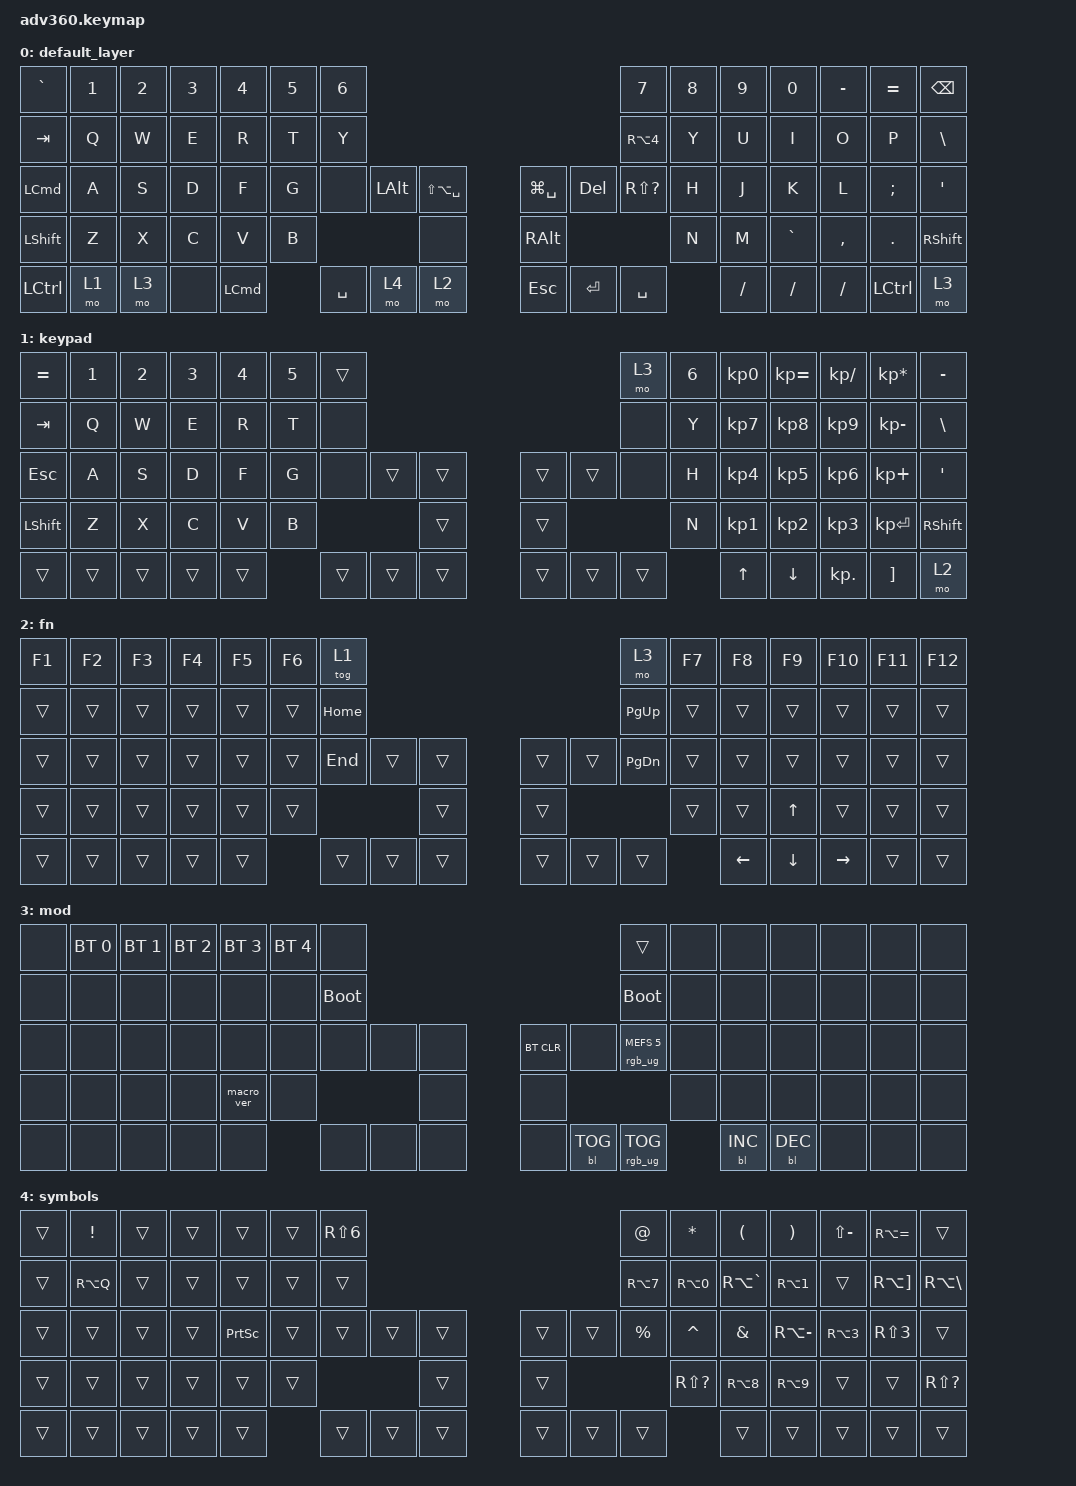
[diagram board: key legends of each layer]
#include <behaviors.dtsi>
#include <dt-bindings/zmk/backlight.h>
#include <dt-bindings/zmk/bt.h>
#include <dt-bindings/zmk/keys.h>
#include <dt-bindings/zmk/rgb.h>

/ {
    behaviors {
        #include "macros.dtsi"
      #include "version.dtsi"
      #ifndef VERSION_MACRO

        macro_ver: macro_ver {
            compatible = "zmk,behavior-macro";
            label = "macro_version";
            #binding-cells = <0>;
            bindings = <&kp RET>;
        };

        #endif

        hm: homerow_mods {
            compatible = "zmk,behavior-hold-tap";
            label = "HOMEROW_MODS";
            #binding-cells = <2>;
            tapping-term-ms = <200>;
            quick_tap_ms = <175>;
            flavor = "tap-preferred";
            bindings = <&kp>, <&kp>;
        };

        minus_underscore_dance: minus_underscore_dance {
            compatible = "zmk,behavior-tap-dance";
            label = "MINUS_UNDERSCORE_DANCE";
            #binding-cells = <0>;
            bindings = <&kp EQUAL>, <&kp KP_PLUS>;
        };
    };

    macros {
    };

    combos {
        compatible = "zmk,combos";

        spotlight_search {
            bindings = <&none>;
            key-positions = <28 65>;
        };
    };

    keymap {
        compatible = "zmk,keymap";

        default_layer {
            bindings = <
&kp GRAVE         &kp N1  &kp N2  &kp N3  &kp N4            &kp N5  &kp N6                                                                     &kp N7            &kp N8  &kp N9    &kp N0     &kp MINUS  &kp EQUAL         &kp BACKSPACE
&kp TAB           &kp Q   &kp W   &kp E   &kp R             &kp T   &kp Y                                                                      &kp RA(N4)        &kp Y   &kp U     &kp I      &kp O      &kp P             &kp BSLH
&kp LEFT_COMMAND  &kp A   &kp S   &kp D   &kp F             &kp G   &none      &kp LEFT_ALT  &kp LS(LA(SPACE))      &kp LG(SPACE)  &kp DELETE  &kp RS(QUESTION)  &kp H   &kp J     &kp K      &kp L      &kp SEMI          &kp SQT
&kp LSHFT         &kp Z   &kp X   &kp C   &kp V             &kp B                            &none                  &kp RIGHT_ALT                                &kp N   &kp M     &kp GRAVE  &kp COMMA  &kp DOT           &kp RSHFT
&kp LEFT_CONTROL  &mo 1   &mo 3   &none   &kp LEFT_COMMAND          &kp SPACE  &mo 4         &mo 2                  &kp ESCAPE     &kp ENTER   &kp SPACE                 &kp FSLH  &kp FSLH   &kp FSLH   &kp LEFT_CONTROL  &mo 3
            >;
        };

        keypad {
            bindings = <
&kp EQUAL  &kp N1  &kp N2  &kp N3  &kp N4  &kp N5  &trans                                      &mo 3   &kp N6  &kp KP_N0  &kp KP_EQUAL  &kp KP_DIVIDE  &kp KP_MULTIPLY  &kp MINUS
&kp TAB    &kp Q   &kp W   &kp E   &kp R   &kp T   &none                                       &none   &kp Y   &kp KP_N7  &kp KP_N8     &kp KP_N9      &kp KP_MINUS     &kp BSLH
&kp ESC    &kp A   &kp S   &kp D   &kp F   &kp G   &none   &trans  &trans      &trans  &trans  &none   &kp H   &kp KP_N4  &kp KP_N5     &kp KP_N6      &kp KP_PLUS      &kp SQT
&kp LSHFT  &kp Z   &kp X   &kp C   &kp V   &kp B                   &trans      &trans                  &kp N   &kp KP_N1  &kp KP_N2     &kp KP_N3      &kp KP_ENTER     &kp RSHFT
&trans     &trans  &trans  &trans  &trans          &trans  &trans  &trans      &trans  &trans  &trans          &kp UP     &kp DOWN      &kp KP_DOT     &kp RBKT         &mo 2
            >;
        };

        fn {
            bindings = <
&kp F1  &kp F2  &kp F3  &kp F4  &kp F5  &kp F6  &tog 1                                        &mo 3          &kp F7  &kp F8    &kp F9    &kp F10    &kp F11  &kp F12
&trans  &trans  &trans  &trans  &trans  &trans  &kp HOME                                      &kp PAGE_UP    &trans  &trans    &trans    &trans     &trans   &trans
&trans  &trans  &trans  &trans  &trans  &trans  &kp END   &trans  &trans      &trans  &trans  &kp PAGE_DOWN  &trans  &trans    &trans    &trans     &trans   &trans
&trans  &trans  &trans  &trans  &trans  &trans                    &trans      &trans                         &trans  &trans    &kp UP    &trans     &trans   &trans
&trans  &trans  &trans  &trans  &trans          &trans    &trans  &trans      &trans  &trans  &trans                 &kp LEFT  &kp DOWN  &kp RIGHT  &trans   &trans
            >;
        };

        mod {
            bindings = <
&none  &bt BT_SEL 0  &bt BT_SEL 1  &bt BT_SEL 2  &bt BT_SEL 3  &bt BT_SEL 4  &none                                                  &trans                  &none  &none       &none       &none  &none  &none
&none  &none         &none         &none         &none         &none         &bootloader                                            &bootloader             &none  &none       &none       &none  &none  &none
&none  &none         &none         &none         &none         &none         &none        &none  &none      &bt BT_CLR  &none       &rgb_ug RGB_MEFS_CMD 5  &none  &none       &none       &none  &none  &none
&none  &none         &none         &none         &macro_ver    &none                             &none      &none                                           &none  &none       &none       &none  &none  &none
&none  &none         &none         &none         &none                       &none        &none  &none      &none       &bl BL_TOG  &rgb_ug RGB_TOG                &bl BL_INC  &bl BL_DEC  &none  &none  &none
            >;
        };

        symbols {
            bindings = <
&trans  &kp EXCL   &trans  &trans  &trans           &trans  &kp RS(N6)                                      &kp AT_SIGN  &kp STAR          &kp LPAR       &kp RPAR       &kp LS(MINUS)  &kp RA(EQUAL)  &trans
&trans  &kp RA(Q)  &trans  &trans  &trans           &trans  &trans                                          &kp RA(N7)   &kp RA(N0)        &kp RA(GRAVE)  &kp RA(N1)     &trans         &kp RA(RBKT)   &kp RA(BSLH)
&trans  &trans     &trans  &trans  &kp PRINTSCREEN  &trans  &trans      &trans  &trans      &trans  &trans  &kp PERCENT  &kp CARET         &kp AMPERSAND  &kp RA(MINUS)  &kp RA(N3)     &kp RS(N3)     &trans
&trans  &trans     &trans  &trans  &trans           &trans                      &trans      &trans                       &kp RS(QUESTION)  &kp RA(N8)     &kp RA(N9)     &trans         &trans         &kp RS(QUESTION)
&trans  &trans     &trans  &trans  &trans                   &trans      &trans  &trans      &trans  &trans  &trans                         &trans         &trans         &trans         &trans         &trans
            >;
        };
    };
};
